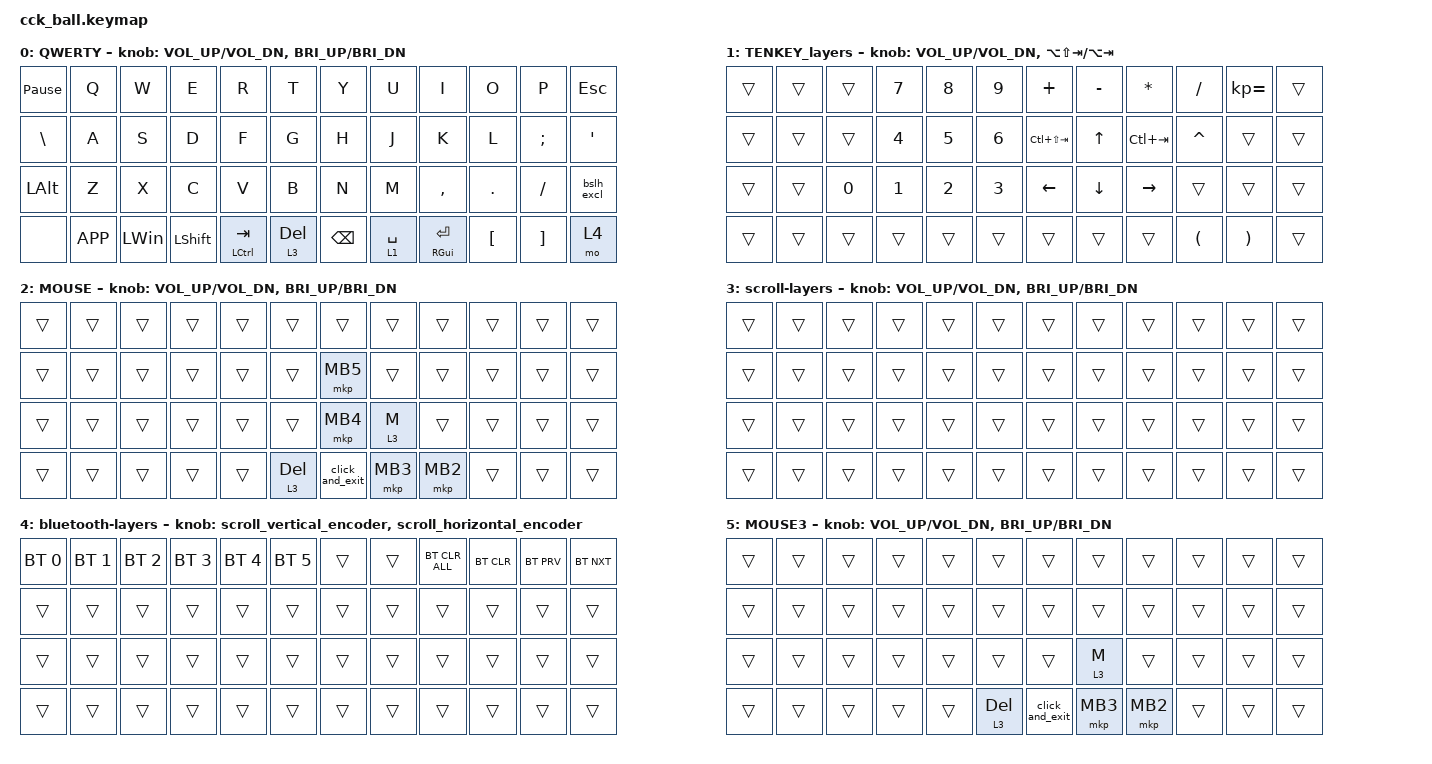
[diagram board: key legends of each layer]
#define ZMK_POINTING_DEFAULT_MOVE_VAL 1200 // 600
#define ZMK_POINTING_DEFAULT_SCRL_VAL 12   // 10

#include <input/processors.dtsi>
#include <zephyr/dt-bindings/input/input-event-codes.h>
#include <behaviors.dtsi>
#include <dt-bindings/zmk/bt.h>
#include <dt-bindings/zmk/keys.h>
#include <dt-bindings/zmk/pointing.h>

&mmv_input_listener {
    input-processors = <&zip_xy_scaler 2 1>, <&zip_temp_layer 2 500>;
};

&msc_input_listener { input-processors = <&zip_scroll_scaler 2 1>; };

// オートマウスレイヤー自動離脱
&zip_temp_layer {    
    require-prior-idle-ms = <200>;
    excluded-positions = <
        30 // H
        42 // N
        43 // M
        53 // DELETE
        54 // BACKSAPACE
        55 // SPACE
        56 // ENTER
    >;
};

&msc {
    acceleration-exponent = <2>;
    time-to-max-speed-ms = <300>;
    delay-ms = <0>;
};

&mmv {
    time-to-max-speed-ms = <300>;
    acceleration-exponent = <2>;
    trigger-period-ms = <16>;
};

&soft_off { hold-time-ms = <2000>; };

/ {
    // 上下スクロール
    scroll_vertical_encoder: scroll_vertical_encoder {
        compatible = "zmk,behavior-sensor-rotate";
        #sensor-binding-cells = <0>;
        bindings = <&msc SCRL_UP>, <&msc SCRL_DOWN>;
        tap-ms = <0>;
    };

    // 左右スクロール
    scroll_horizontal_encoder: scroll_horizontal_encoder {
        compatible = "zmk,behavior-sensor-rotate";
        #sensor-binding-cells = <0>;
        bindings = <&msc SCRL_LEFT>, <&msc SCRL_RIGHT>;
        tap-ms = <0>;
    };

// \と!キー
behaviors {
    bslh_excl: bslh_excl_morph {
        compatible = "zmk,behavior-mod-morph";
        #binding-cells = <0>;
        bindings = <&kp BSLH>, <&kp EXCL>;          // 通常時は \ (BSLH)、Shift時は ! (EXCL)
        mods = <(MOD_LSFT|MOD_RSFT)>;               // 左右どちらのShiftでも反応させる
    };
};

// オートマウス　クリック用レイヤー
behaviors {
    sl_mouse: sticky_layer_for_mouse {
        compatible = "zmk,behavior-sticky-key";
        #binding-cells = <1>;
        bindings = <&mo>;
        release-after-ms = <200>; // 200msだけクリック用レイヤに移動する（必要に応じて時間を変更）
        quick-release;
        ignore-modifiers;
    };
    lt_mouse_layer: lt_mouse_layer {
        compatible = "zmk,behavior-hold-tap";
        label = "LAYER_TAP_MOUSE";
        bindings = <&mo>, <&mkp>;
        #binding-cells = <2>;
        tapping-term-ms = <200>;
    };
};

macros {
    click_and_exit: click_and_exit {
        label = "CLICK_AND_EXIT";
        compatible = "zmk,behavior-macro";
        #binding-cells = <0>;
        bindings =
            <&macro_press &mkp MB1>
            , <&macro_pause_for_release> // ドラッグ対策に離すまで待つ
            , <&macro_release &mkp MB1>
            , <&macro_tap &to 0> // デフォルトレイヤーに戻る
            , <&macro_tap &sl_mouse 5> // 一瞬だけクリック用レイヤに飛ぶ
            ;
    };
};

    keymap {
        compatible = "zmk,keymap";

        QWERTY {
            bindings = <
&kp PAUSE_BREAK  &kp Q      &kp W     &kp E      &kp R          &kp T         &kp Y          &kp U        &kp I           &kp O     &kp P      &kp ESC
&kp BSLH         &kp A      &kp S     &kp D      &kp F          &kp G         &kp H          &kp J        &kp K           &kp L     &kp SEMI   &kp SQT
&kp LALT         &kp Z      &kp X     &kp C      &kp V          &kp B         &kp N          &kp M        &kp COMMA       &kp DOT   &kp FSLH   &bslh_excl
&none            &kp K_APP  &kp LWIN  &kp LSHFT  &mt LCTRL TAB  &lt 3 DELETE  &kp BACKSPACE  &lt 1 SPACE  &mt RGUI ENTER  &kp LBKT  &kp RBKT   &mo 4
            >;
            sensor-bindings = <&inc_dec_kp C_VOL_UP C_VOL_DN &inc_dec_kp C_BRI_UP C_BRI_DN>;
        };

        TENKEY_layers {
            bindings = <
&trans  &trans   &trans  &kp N7   &kp N8   &kp N9   &kp PLUS         &kp MINUS       &kp STAR         &kp FSLH   &kp KP_EQUAL  &trans
&trans  &trans   &trans  &kp N4   &kp N5   &kp N6   &kp LC(LS(TAB))  &kp UP_ARROW    &kp LC(TAB)      &kp CARET  &trans        &trans
&trans  &trans   &kp N0  &kp N1   &kp N2   &kp N3   &kp LEFT_ARROW   &kp DOWN_ARROW  &kp RIGHT_ARROW  &trans     &trans        &trans
&trans  &trans   &trans  &trans   &trans   &trans   &trans           &trans          &trans           &kp LPAR   &kp RPAR      &trans
            >;
            sensor-bindings = <&inc_dec_kp C_VOL_UP C_VOL_DN &inc_dec_kp LA(LS(TAB)) LA(TAB)>;
        };

        MOUSE_layers {
            label = "MOUSE";
            bindings = <
&trans  &trans  &trans  &trans  &trans  &trans        &trans           &trans    &trans    &trans  &trans  &trans
&trans  &trans  &trans  &trans  &trans  &trans        &mkp MB5         &trans    &trans    &trans  &trans  &trans
&trans  &trans  &trans  &trans  &trans  &trans        &mkp MB4         &lt 3 M   &trans    &trans  &trans  &trans
&trans  &trans  &trans  &trans  &trans  &lt 3 DELETE  &click_and_exit  &mkp MB3  &mkp MB2  &trans  &trans  &trans
            >;
            sensor-bindings = <&inc_dec_kp C_VOL_UP C_VOL_DN &inc_dec_kp C_BRI_UP C_BRI_DN>;

        };

        scroll-layers {
            bindings = <
&trans  &trans  &trans  &trans  &trans  &trans  &trans  &trans  &trans  &trans  &trans  &trans
&trans  &trans  &trans  &trans  &trans  &trans  &trans  &trans  &trans  &trans  &trans  &trans
&trans  &trans  &trans  &trans  &trans  &trans  &trans  &trans  &trans  &trans  &trans  &trans
&trans  &trans  &trans  &trans  &trans  &trans  &trans  &trans  &trans  &trans  &trans  &trans
            >;
            sensor-bindings = <&inc_dec_kp C_VOL_UP C_VOL_DN  &inc_dec_kp C_BRI_UP C_BRI_DN>;
        };

        bluetooth-layers {
            bindings = <
&bt BT_SEL 0  &bt BT_SEL 1  &bt BT_SEL 2  &bt BT_SEL 3  &bt BT_SEL 4  &bt BT_SEL 5  &trans  &trans  &bt BT_CLR_ALL  &bt BT_CLR  &bt BT_PRV  &bt BT_NXT
&trans  &trans  &trans  &trans  &trans  &trans  &trans  &trans  &trans  &trans  &trans  &trans
&trans  &trans  &trans  &trans  &trans  &trans  &trans  &trans  &trans  &trans  &trans  &trans
&trans  &trans  &trans  &trans  &trans  &trans  &trans  &trans  &trans  &trans  &trans  &trans
            >;
            sensor-bindings =  <&scroll_vertical_encoder &scroll_horizontal_encoder>;
        };

        doubleclick_layers {
            label = "MOUSE3";
            bindings = <
&trans  &trans  &trans  &trans  &trans  &trans        &trans           &trans    &trans    &trans  &trans  &trans
&trans  &trans  &trans  &trans  &trans  &trans        &trans           &trans    &trans    &trans  &trans  &trans
&trans  &trans  &trans  &trans  &trans  &trans        &trans           &lt 3 M   &trans    &trans  &trans  &trans
&trans  &trans  &trans  &trans  &trans  &lt 3 DELETE  &click_and_exit  &mkp MB3  &mkp MB2  &trans  &trans  &trans
            >;
            sensor-bindings = <&inc_dec_kp C_VOL_UP C_VOL_DN &inc_dec_kp C_BRI_UP C_BRI_DN>;
        };
    };
};
